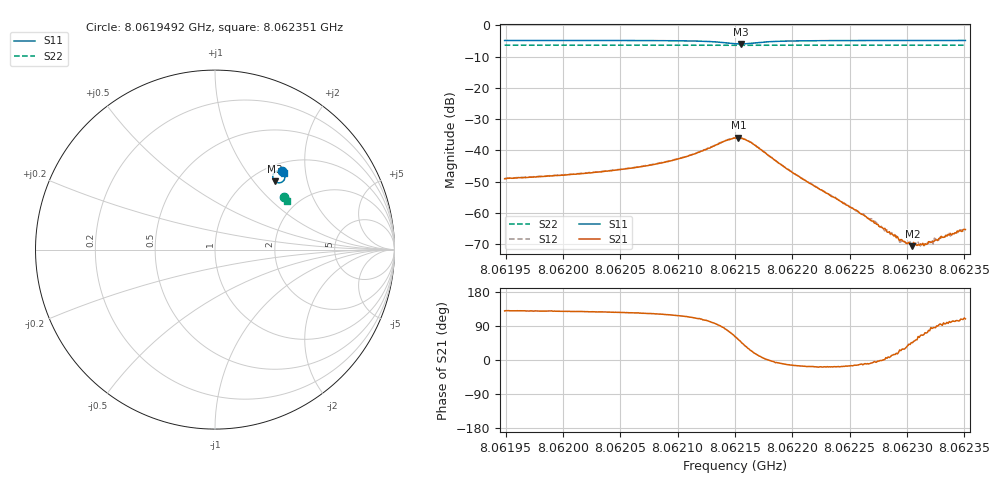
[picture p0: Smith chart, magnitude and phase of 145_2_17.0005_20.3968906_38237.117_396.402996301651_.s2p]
#  HZ  S  RI  R  50.00
! Rohde & Schwarz Vector Network Analyzer
! Rohde-Schwarz,ZNB20-2Port,1311601062101988,3.16
! Created: UTC 3/20/2024, 10:58:36 PM
! freq[Hz]  re:S11  im:S11  re:S21  im:S21  re:S12  im:S12  re:S22  im:S22
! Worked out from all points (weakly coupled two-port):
!   401 points, 8.0619492 GHz to 8.062351 GHz, reference 50 ohm
!   highest |S21| = -36.00 dB at 8.0621531 GHz (marker M1); lowest = -70.7 dB at 8.0623048 GHz (marker M2)
!   lowest |S11| = -5.9 dB at 8.0621551 GHz (marker M3), VSWR 3.05, Z = 63.1 + j64.6 ohm
!   |S11| at or under -10 dB: nowhere
!   |S22| runs from -6.4 to -6.3 dB; largest |S21 - S12| = 0.0011
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8.06194919e9  0.3731 0.4383  -0.00222 0.00269  -0.00214 0.00287  0.3871 0.2915
8.06201649e9  0.3789 0.4327  -0.00259 0.00331  -0.00241 0.00356  0.3895 0.2881
8.06205667e9  0.3831 0.4273  -0.00291 0.00417  -0.00271 0.0044  0.391 0.2861
8.06208379e9  0.3866 0.4213  -0.00318 0.00528  -0.00291 0.00551  0.3918 0.2844
8.06211092e9  0.3899 0.4094  -0.00326 0.00765  -0.00283 0.00791  0.3927 0.2826
8.06213402e9  0.384 0.3861  -0.000867 0.0123  -0.000193 0.0125  0.3927 0.2806
8.06215009e9  0.3484 0.3726  0.00747 0.0139  0.00837 0.0136  0.3915 0.28
8.0621531e9  0.339 0.3765  0.00941 0.0127  0.0101 0.0123  0.3913 0.2799
8.06215511e9  0.3334 0.3805  0.0103 0.0116  0.0112 0.0111  0.3911 0.2804
8.06216616e9  0.3229 0.4121  0.0118 0.00424  0.0121 0.00369  0.3916 0.2812
8.06219128e9  0.3487 0.4388  0.00561 -0.000975  0.00559 -0.00133  0.394 0.2808
8.06221739e9  0.3636 0.439  0.00269 -0.000843  0.00267 -0.00103  0.3953 0.2793
8.06225556e9  0.3732 0.4357  0.00108 -0.000267  0.00101 -0.000312  0.3969 0.2772
8.06227063e9  0.3757 0.4344  0.000732 -8.04e-05  0.000703 -0.000128  0.3975 0.2766
8.06227867e9  0.3769 0.4338  0.000577 -4.52e-06  0.000534 -5.91e-05  0.3977 0.2761
8.06228469e9  0.3777 0.4332  0.000493 5.66e-05  0.00048 3.69e-05  0.3979 0.2757
8.06228871e9  0.3781 0.4329  0.000409 0.000107  0.000454 6.14e-05  0.3979 0.2756
8.06229474e9  0.379 0.4324  0.000338 0.000155  0.000326 0.000102  0.3984 0.2753
8.06230478e9  0.3802 0.4318  0.000205 0.000208  0.000199 0.000224  0.3985 0.2747
8.06231382e9  0.3809 0.4311  0.000135 0.000292  0.000139 0.000293  0.399 0.2743
8.06231583e9  0.3812 0.4309  9.85e-05 0.000303  0.000113 0.000285  0.399 0.2742
8.06235099e9  0.3845 0.4286  -0.000172 0.000509  -0.000117 0.000533  0.4001 0.2724
